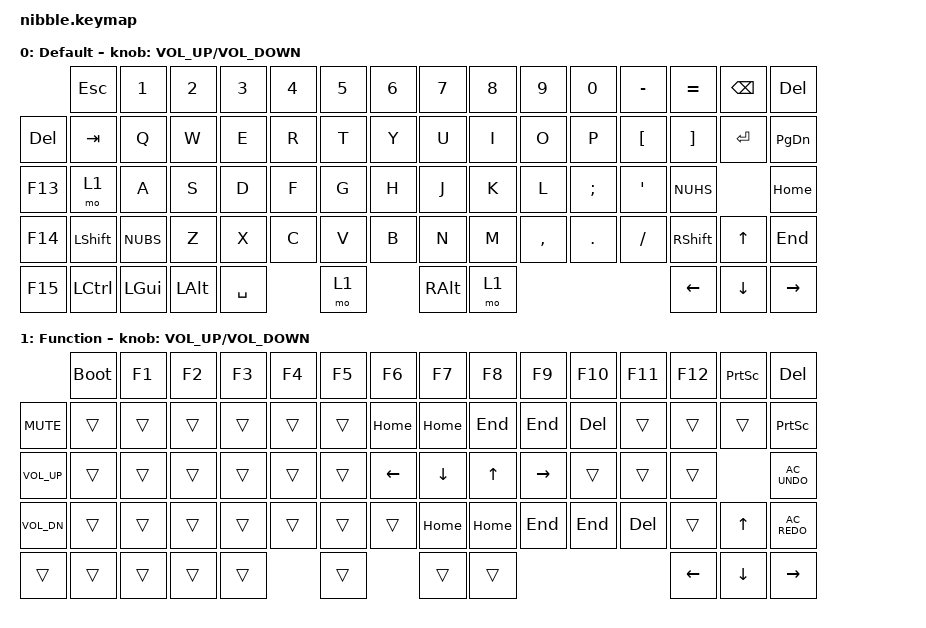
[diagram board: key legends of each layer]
/*
 * Copyright (c) 2020 The ZMK Contributors
 *
 * SPDX-License-Identifier: MIT
 */

#include <behaviors.dtsi>
#include <dt-bindings/zmk/keys.h>
#include <dt-bindings/zmk/bt.h>

/ {
	sensors {
		compatible = "zmk,keymap-sensors";
		sensors = <&encoder_1>;
	};

	keymap {
		compatible = "zmk,keymap";

		default_layer {
			label = "Default";

			sensor-bindings = <&inc_dec_kp C_VOLUME_UP C_VOLUME_DOWN>;

			bindings = <
            &kp ESC    &kp N1    &kp N2    &kp N3     &kp N4  &kp N5  &kp N6  &kp N7    &kp N8    &kp N9     &kp N0   &kp MINUS &kp EQUAL &kp BSPC  &kp DEL
&kp DEL     &kp TAB    &kp Q     &kp W     &kp E      &kp R           &kp T   &kp Y     &kp U     &kp I      &kp O    &kp P     &kp LBKT  &kp RBKT  &kp RET   &kp PG_DN
&kp F13     &mo 1      &kp A     &kp S     &kp D      &kp F           &kp G   &kp H     &kp J     &kp K      &kp L    &kp SEMI  &kp SQT   &kp NUHS            &kp HOME
&kp F14     &kp LSHFT  &kp NUBS  &kp Z     &kp X      &kp C   &kp V   &kp B   &kp N     &kp M     &kp COMMA  &kp DOT  &kp FSLH  &kp RSHFT           &kp UP    &kp END
&kp F15     &kp LCTRL  &kp LGUI  &kp LALT  &kp SPACE                  &mo 1             &kp RALT  &mo 1                                   &kp LEFT  &kp DOWN  &kp RIGHT
			>;
		};
		function_layer {
			label = "Function";
			
			sensor-bindings = <&inc_dec_kp C_VOLUME_UP C_VOLUME_DOWN>;

			bindings = <
             &bootloader  &kp F1  &kp F2  &kp F3  &kp F4  &kp F5  &kp F6  &kp F7    &kp F8    &kp F9   &kp F10    &kp F11   &kp F12  &kp PSCRN  &kp DEL
&kp C_MUTE   &trans       &trans  &trans  &trans  &trans          &trans  &kp HOME  &kp HOME  &kp END  &kp END    &kp DEL   &trans   &trans     &trans    &kp PSCRN
&kp C_VOL_UP &trans       &trans  &trans  &trans  &trans          &trans  &kp LEFT  &kp DOWN  &kp UP   &kp RIGHT  &trans    &trans   &trans               &kp C_AC_UNDO
&kp C_VOL_DN &trans       &trans  &trans  &trans  &trans  &trans  &trans  &kp HOME  &kp HOME  &kp END  &kp END    &kp DEL   &trans              &kp UP    &kp C_AC_REDO
&trans       &trans       &trans  &trans  &trans                  &trans            &trans    &trans                                 &kp LEFT   &kp DOWN  &kp RIGHT
			>;
		};
	};
};
